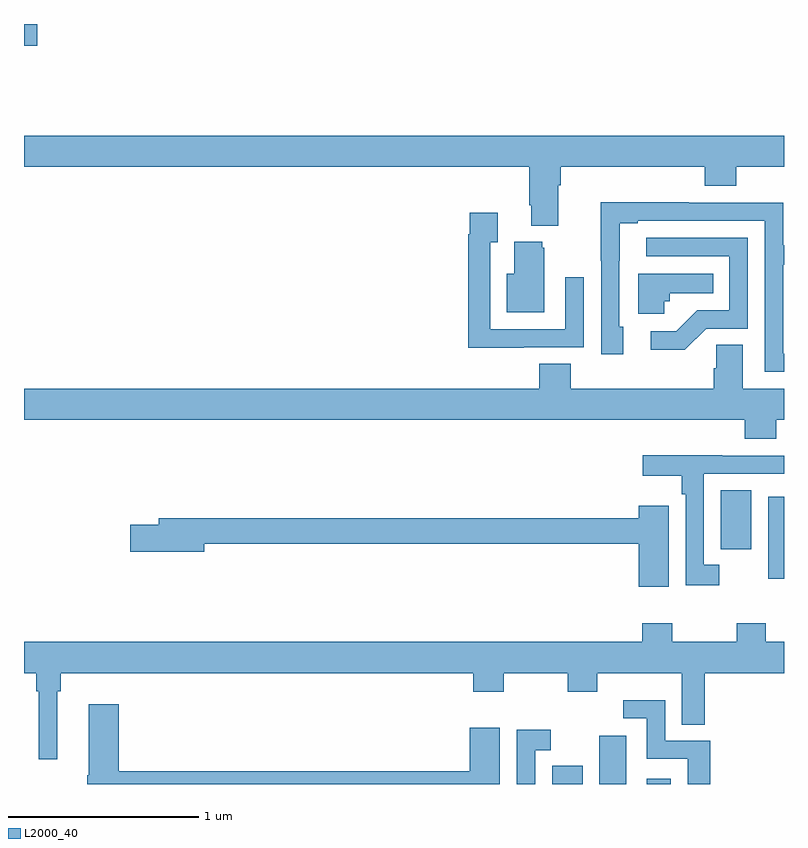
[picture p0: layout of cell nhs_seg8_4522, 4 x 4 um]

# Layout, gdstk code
import gdstk
lib = gdstk.Library(unit=1e-6, precision=1e-09)
def R(c, l, rs):  # rectangles x0, y0, x1, y1
    for r in rs: c.add(gdstk.rectangle(r[:2], r[2:], *l))
def P(c, l, *ps):  # polygons
    for p in ps: c.add(gdstk.Polygon(p, *l))
L2000_40 = (2000, 40)

nhs_seg8_4522 = lib.new_cell('nhs_seg8_4522')
R(nhs_seg8_4522, L2000_40, [(387.779,1131.9,387.94,1131.996), (388.028,1131.9,388.171,1132.153), (388.278,1131.9,388.405,1131.928), (388.916,1132.98,389,1133.413), (388.667,1133.136,388.828,1133.447), (385,1135.786,385.069,1135.9)])
P(nhs_seg8_4522, L2000_40, [(387.811,1135.052),(387.824,1135.052),(387.824,1135.148),(388.583,1135.148),(388.583,1135.049),(388.748,1135.049),(388.748,1135.148),(389,1135.148),(389,1135.312),(385,1135.312),(385,1135.148),(387.659,1135.148),(387.659,1134.946),(387.671,1134.946),(387.671,1134.839),(387.811,1134.839)],
  [(389,1134.165),(388.995,1134.165),(388.995,1134.634),(389,1134.634),(389,1134.735),(388.995,1134.735),(388.995,1134.96),(388.499,1134.96),(388.499,1134.962),(388.036,1134.962),(388.036,1134.655),(388.038,1134.655),(388.038,1134.162),(388.153,1134.162),(388.153,1134.306),(388.134,1134.306),(388.134,1134.655),(388.135,1134.655),(388.135,1134.852),(388.231,1134.852),(388.231,1134.864),(388.899,1134.864),(388.899,1134.069),(389,1134.069)],
  [(387.629,1134.198),(387.945,1134.198),(387.945,1134.568),(387.849,1134.568),(387.849,1134.294),(387.453,1134.294),(387.453,1134.751),(387.493,1134.751),(387.493,1134.907),(387.345,1134.907),(387.345,1134.794),(387.337,1134.794),(387.337,1134.197),(387.629,1134.197)],
  [(388.59,1134.297),(388.809,1134.297),(388.809,1134.774),(388.275,1134.774),(388.275,1134.678),(388.713,1134.678),(388.713,1134.393),(388.544,1134.393),(388.433,1134.282),(388.299,1134.282),(388.299,1134.185),(388.477,1134.185)],
  [(387.739,1134.723),(387.728,1134.723),(387.728,1134.754),(387.581,1134.754),(387.581,1134.586),(387.542,1134.586),(387.542,1134.383),(387.739,1134.383)],
  [(388.371,1134.441),(388.398,1134.441),(388.398,1134.482),(388.628,1134.482),(388.628,1134.586),(388.232,1134.586),(388.232,1134.374),(388.371,1134.374)],
  [(388.958,1133.816),(389,1133.816),(389,1133.98),(388.783,1133.98),(388.783,1134.212),(388.644,1134.212),(388.644,1134.089),(388.631,1134.089),(388.631,1133.98),(387.878,1133.98),(387.878,1134.113),(387.713,1134.113),(387.713,1133.98),(385,1133.98),(385,1133.816),(388.793,1133.816),(388.793,1133.717),(388.958,1133.717)],
  [(388.66,1133.055),(388.578,1133.055),(388.578,1133.532),(389,1133.532),(389,1133.628),(388.675,1133.628),(388.675,1133.63),(388.257,1133.63),(388.257,1133.522),(388.462,1133.522),(388.462,1133.426),(388.482,1133.426),(388.482,1132.947),(388.66,1132.947)],
  [(388.393,1133.365),(388.235,1133.365),(388.235,1133.3),(385.709,1133.3),(385.709,1133.264),(385.56,1133.264),(385.56,1133.122),(385.948,1133.122),(385.948,1133.164),(388.235,1133.164),(388.235,1132.938),(388.393,1132.938)],
  [(385.174,1132.388),(385.193,1132.388),(385.193,1132.484),(387.365,1132.484),(387.365,1132.385),(387.525,1132.385),(387.525,1132.484),(387.862,1132.484),(387.862,1132.385),(388.017,1132.385),(388.017,1132.484),(388.463,1132.484),(388.463,1132.213),(388.582,1132.213),(388.582,1132.484),(389,1132.484),(389,1132.648),(388.905,1132.648),(388.905,1132.747),(388.75,1132.747),(388.75,1132.648),(388.413,1132.648),(388.413,1132.747),(388.253,1132.747),(388.253,1132.648),(385,1132.648),(385,1132.484),(385.064,1132.484),(385.064,1132.388),(385.077,1132.388),(385.077,1132.029),(385.174,1132.029)],
  [(388.612,1132.128),(388.374,1132.128),(388.374,1132.342),(388.155,1132.342),(388.155,1132.245),(388.278,1132.245),(388.278,1132.032),(388.493,1132.032),(388.493,1131.9),(388.612,1131.9)],
  [(387.505,1132.195),(387.347,1132.195),(387.347,1131.968),(385.499,1131.968),(385.499,1132.321),(385.34,1132.321),(385.34,1131.945),(385.333,1131.945),(385.333,1131.9),(387.505,1131.9)],
  [(387.69,1132.077),(387.772,1132.077),(387.772,1132.186),(387.594,1132.186),(387.594,1131.9),(387.69,1131.9)])

lib.write_gds('nhs_seg8_4522.gds')
